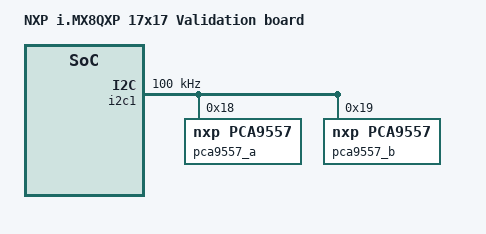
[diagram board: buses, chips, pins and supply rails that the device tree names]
// SPDX-License-Identifier: GPL-2.0+
/*
 * Copyright 2018-2019 NXP
 *
 */

#include "fsl-imx8qxp-lpddr4-val.dts"

/ {
	model = "NXP i.MX8QXP 17x17 Validation board";
};

&i2c1 {
	#address-cells = <1>;
	#size-cells = <0>;
	clock-frequency = <100000>;
	pinctrl-names = "default";
	pinctrl-0 = <&pinctrl_lpi2c1>;
	status = "okay";

	pca9557_a: gpio@18 {
		compatible = "nxp,pca9557";
		reg = <0x18>;
		gpio-controller;
		#gpio-cells = <2>;
	};

	pca9557_b: gpio@19 {
		compatible = "nxp,pca9557";
		reg = <0x19>;
		gpio-controller;
		#gpio-cells = <2>;
	};
};

&i2c3 {
	status = "disabled";

	/delete-node/ gpio@18;
 	/delete-node/ gpio@19;
};

&usdhc2 {
	status = "disabled";
};

&usbotg3 {
	status = "disabled";
};
